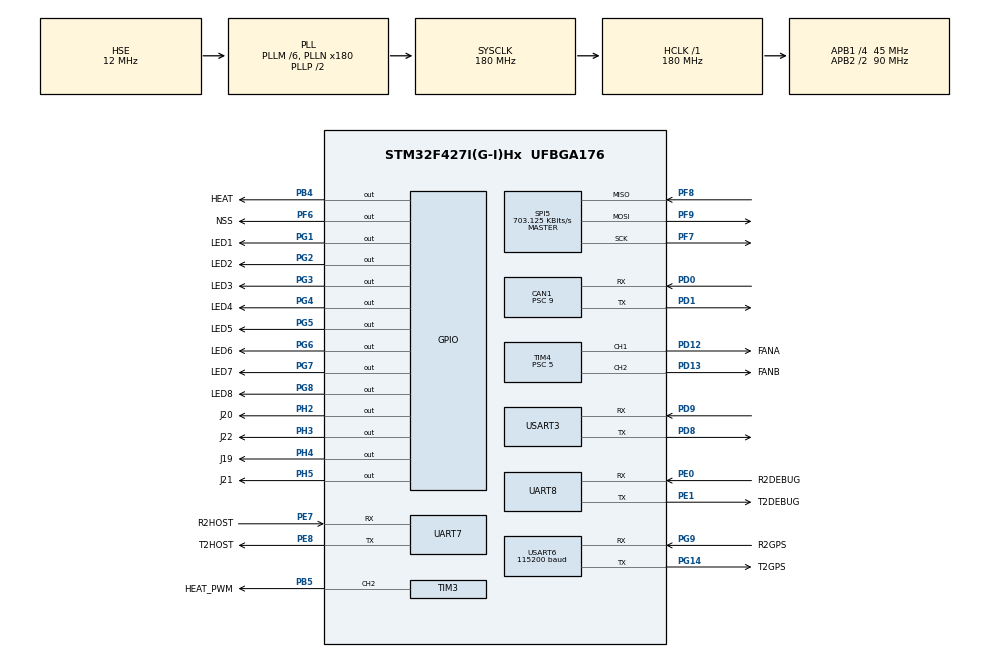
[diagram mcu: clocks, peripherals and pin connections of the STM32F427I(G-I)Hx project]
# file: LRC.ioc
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ADC1.Channel-0\#ChannelRegularConversion=ADC_CHANNEL_TEMPSENSOR
ADC1.Channel-1\#ChannelInjectedConversion=ADC_CHANNEL_TEMPSENSOR
ADC1.ContinuousConvMode=DISABLE
ADC1.ExternalTrigConv=ADC_SOFTWARE_START
ADC1.InjNumberOfConversion=1
ADC1.InjectedOffset-1\#ChannelInjectedConversion=0
ADC1.InjectedRank-1\#ChannelInjectedConversion=1
ADC1.NbrOfConversion=1
ADC1.NbrOfConversionFlag=1
ADC1.Rank-0\#ChannelRegularConversion=1
ADC1.SamplingTime-0\#ChannelRegularConversion=ADC_SAMPLETIME_3CYCLES
ADC1.SamplingTime-1\#ChannelInjectedConversion=ADC_SAMPLETIME_3CYCLES
ADC1.master=1
CAN1.ABOM=ENABLE
CAN1.BS1=CAN_BS1_3TQ
CAN1.CalculateBaudRate=1000000
CAN1.CalculateTimeBit=1000.00
CAN1.CalculateTimeQuantum=200.0
CAN1.Prescaler=9
FREERTOS.Tasks01=defaultTask,8,128,StartDefaultTask,Default,NULL,Dynamic,NULL,NULL;myGetGPS,32,128,StartGetGPS,Default,NULL,Dynamic,NULL,NULL;myMotorControl,24,128,StartMotorControl,Default,NULL,Dynamic,NULL,NULL;myGetIMU,32,128,StartGetIMU,Default,NULL,Dynamic,NULL,NULL;myCtrlIMUTemp,24,128,StartCtrlIMUTemp,Default,NULL,Dynamic,NULL,NULL;myChassisCtrl,24,128,StartChassisCtrl,Default,NULL,Dynamic,NULL,NULL;myBrushCtrl,24,128,StartBrushCtrl,Default,NULL,Dynamic,NULL,NULL;myLED,16,128,StartLED,Default,NULL,Dynamic,NULL,NULL;myMtHrtBt,16,128,StartMtHrtBt,Default,NULL,Dynamic,NULL,NULL;myFanCtrl,24,128,StartFanCtrl,Default,NULL,Dynamic,NULL,NULL
Mcu.Family=STM32F4
Mcu.Name=STM32F427I(G-I)Hx
Mcu.Package=UFBGA176
NVIC.CAN1_RX0_IRQn=true\:5\:0\:false\:false\:true\:true\:true\:true
NVIC.PriorityGroup=NVIC_PRIORITYGROUP_4
NVIC.TIM6_DAC_IRQn=true\:0\:0\:false\:false\:true\:false\:false\:true
NVIC.TimeBase=TIM6_DAC_IRQn
NVIC.TimeBaseIP=TIM6
NVIC.UART7_IRQn=true\:5\:0\:false\:false\:true\:true\:true\:true
NVIC.UART8_IRQn=true\:5\:0\:false\:false\:true\:true\:true\:true
NVIC.USART3_IRQn=true\:5\:0\:false\:false\:true\:true\:true\:true
NVIC.USART6_IRQn=true\:5\:0\:false\:false\:true\:true\:true\:true
PA13.Mode=Serial_Wire
PA13.Signal=SYS_JTMS-SWDIO
PA14.Mode=Serial_Wire
PA14.Signal=SYS_JTCK-SWCLK
PB4.GPIO_Label=HEAT
PB4.Signal=GPIO_Output
PB5.GPIO_Label=HEAT_PWM
PB5.Signal=S_TIM3_CH2
PD0.GPIO_PuPd=GPIO_NOPULL
PD0.Mode=CAN_Activate
PD0.Signal=CAN1_RX
PD1.GPIO_PuPd=GPIO_NOPULL
PD1.Mode=CAN_Activate
PD1.Signal=CAN1_TX
PD12.GPIO_Label=FANA
PD12.Signal=S_TIM4_CH1
PD13.GPIO_Label=FANB
PD13.Signal=S_TIM4_CH2
PD8.Mode=Asynchronous
PD8.Signal=USART3_TX
PD9.Mode=Asynchronous
PD9.Signal=USART3_RX
PE0.GPIO_Label=R2DEBUG
PE0.Mode=Asynchronous
PE0.Signal=UART8_RX
PE1.GPIO_Label=T2DEBUG
PE1.Mode=Asynchronous
PE1.Signal=UART8_TX
PE7.GPIO_Label=R2HOST
PE7.Mode=Asynchronous
PE7.Signal=UART7_RX
PE8.GPIO_Label=T2HOST
PE8.Mode=Asynchronous
PE8.Signal=UART7_TX
PF6.GPIO_Label=NSS
PF6.Signal=GPIO_Output
PF7.Mode=Full_Duplex_Master
PF7.Signal=SPI5_SCK
PF8.Mode=Full_Duplex_Master
PF8.Signal=SPI5_MISO
PF9.Mode=Full_Duplex_Master
PF9.Signal=SPI5_MOSI
PG1.GPIO_Label=LED1
PG1.Signal=GPIO_Output
PG14.GPIO_Label=T2GPS
PG14.Mode=Asynchronous
PG14.Signal=USART6_TX
PG2.GPIO_Label=LED2
PG2.Signal=GPIO_Output
PG3.GPIO_Label=LED3
PG3.Signal=GPIO_Output
PG4.GPIO_Label=LED4
PG4.Signal=GPIO_Output
PG5.GPIO_Label=LED5
PG5.Signal=GPIO_Output
PG6.GPIO_Label=LED6
PG6.Signal=GPIO_Output
PG7.GPIO_Label=LED7
PG7.Signal=GPIO_Output
PG8.GPIO_Label=LED8
PG8.Signal=GPIO_Output
PG9.GPIO_Label=R2GPS
PG9.Mode=Asynchronous
PG9.Signal=USART6_RX
PH0/OSC_IN.Mode=HSE-External-Oscillator
PH0/OSC_IN.Signal=RCC_OSC_IN
PH1/OSC_OUT.Mode=HSE-External-Oscillator
PH1/OSC_OUT.Signal=RCC_OSC_OUT
PH2.GPIO_Label=J20
PH2.GPIO_PuPd=GPIO_PULLUP
PH2.PinState=GPIO_PIN_SET
PH2.Signal=GPIO_Output
PH3.GPIO_Label=J22
PH3.GPIO_PuPd=GPIO_PULLUP
PH3.PinState=GPIO_PIN_SET
PH3.Signal=GPIO_Output
PH4.GPIO_Label=J19
PH4.GPIO_PuPd=GPIO_PULLUP
PH4.PinState=GPIO_PIN_SET
PH4.Signal=GPIO_Output
PH5.GPIO_Label=J21
PH5.GPIO_PuPd=GPIO_PULLUP
PH5.PinState=GPIO_PIN_SET
PH5.Signal=GPIO_Output
ProjectManager.HeapSize=0x200
ProjectManager.StackSize=0x400
ProjectManager.TargetToolchain=MDK-ARM V5
RCC.48MHZClocksFreq_Value=90000000
RCC.AHBFreq_Value=180000000
RCC.APB1CLKDivider=RCC_HCLK_DIV4
RCC.APB1Freq_Value=45000000
RCC.APB1TimFreq_Value=90000000
RCC.APB2CLKDivider=RCC_HCLK_DIV2
RCC.APB2Freq_Value=90000000
RCC.APB2TimFreq_Value=180000000
RCC.CortexFreq_Value=180000000
RCC.HCLKFreq_Value=180000000
RCC.HSE_VALUE=12000000
RCC.HSI_VALUE=16000000
RCC.LSE_VALUE=32768
RCC.PLLM=6
RCC.PLLN=180
RCC.PLLSourceVirtual=RCC_PLLSOURCE_HSE
RCC.SYSCLKFreq_VALUE=180000000
RCC.SYSCLKSource=RCC_SYSCLKSOURCE_PLLCLK
RCC.VCOOutputFreq_Value=360000000
SH.S_TIM3_CH2.0=TIM3_CH2,PWM Generation2 CH2
SH.S_TIM4_CH1.0=TIM4_CH1,PWM Generation1 CH1
SH.S_TIM4_CH2.0=TIM4_CH2,PWM Generation2 CH2
SPI5.BaudRatePrescaler=SPI_BAUDRATEPRESCALER_128
SPI5.CalculateBaudRate=703.125 KBits/s
SPI5.Direction=SPI_DIRECTION_2LINES
SPI5.Mode=SPI_MODE_MASTER
SPI5.VirtualType=VM_MASTER
TIM3.AutoReloadPreload=TIM_AUTORELOAD_PRELOAD_ENABLE
TIM3.Channel-PWM\ Generation2\ CH2=TIM_CHANNEL_2
TIM3.Period=4999
TIM3.Prescaler=89
TIM4.AutoReloadPreload=TIM_AUTORELOAD_PRELOAD_ENABLE
TIM4.Channel-PWM\ Generation1\ CH1=TIM_CHANNEL_1
TIM4.Channel-PWM\ Generation2\ CH2=TIM_CHANNEL_2
TIM4.Period=1000
TIM4.Prescaler=5
UART7.VirtualMode=Asynchronous
UART8.VirtualMode=Asynchronous
USART3.VirtualMode=VM_ASYNC
USART6.BaudRate=115200
USART6.VirtualMode=VM_ASYNC
VP_ADC1_TempSens_Input.Mode=IN-TempSens
VP_FREERTOS_VS_CMSIS_V2.Mode=CMSIS_V2
VP_SYS_VS_tim6.Mode=TIM6
board=custom

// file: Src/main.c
/* USER CODE BEGIN Header */
/**
  ******************************************************************************
  * @file           : main.c
  * @brief          : Main program body
  ******************************************************************************
  * @attention
  *
  * <h2><center>&copy; Copyright (c) 2021 STMicroelectronics.
  * All rights reserved.</center></h2>
  *
  * This software component is licensed by ST under Ultimate Liberty license
  * SLA0044, the "License"; You may not use this file except in compliance with
  * the License. You may obtain a copy of the License at:
  *                             www.st.com/SLA0044
  *
  ******************************************************************************
  */
/* USER CODE END Header */
#include "main.h"
#include "cmsis_os.h"

/* USER CODE BEGIN Includes */
#include "bsp.h"
#include "bsp_can.h"
#include "bsp_imu.h"
#include "pid.h"
#include "gps.h"
#include "usart.h"
#include "protocol.h"
#include "math.h"
/* USER CODE END Includes */

ADC_HandleTypeDef hadc1;

CAN_HandleTypeDef hcan1;

SPI_HandleTypeDef hspi5;

TIM_HandleTypeDef htim3;
TIM_HandleTypeDef htim4;

UART_HandleTypeDef huart7;
UART_HandleTypeDef huart8;
UART_HandleTypeDef huart3;
UART_HandleTypeDef huart6;

/* Definitions for defaultTask */
osThreadId_t defaultTaskHandle;
const osThreadAttr_t defaultTask_attributes = {
  .name = "defaultTask",
  .priority = (osPriority_t) osPriorityLow,
  .stack_size = 128 * 4
};
/* Definitions for myGetGPS */
osThreadId_t myGetGPSHandle;
const osThreadAttr_t myGetGPS_attributes = {
  .name = "myGetGPS",
  .priority = (osPriority_t) osPriorityAboveNormal,
  .stack_size = 128 * 4
};
/* Definitions for myMotorControl */
osThreadId_t myMotorControlHandle;
const osThreadAttr_t myMotorControl_attributes = {
  .name = "myMotorControl",
  .priority = (osPriority_t) osPriorityNormal,
  .stack_size = 128 * 4
};
/* Definitions for myGetIMU */
osThreadId_t myGetIMUHandle;
const osThreadAttr_t myGetIMU_attributes = {
  .name = "myGetIMU",
  .priority = (osPriority_t) osPriorityAboveNormal,
  .stack_size = 128 * 4
};
/* Definitions for myCtrlIMUTemp */
osThreadId_t myCtrlIMUTempHandle;
const osThreadAttr_t myCtrlIMUTemp_attributes = {
  .name = "myCtrlIMUTemp",
  .priority = (osPriority_t) osPriorityNormal,
  .stack_size = 128 * 4
};
/* Definitions for myChassisCtrl */
osThreadId_t myChassisCtrlHandle;
const osThreadAttr_t myChassisCtrl_attributes = {
  .name = "myChassisCtrl",
  .priority = (osPriority_t) osPriorityNormal,
  .stack_size = 128 * 4
};
/* Definitions for myBrushCtrl */
osThreadId_t myBrushCtrlHandle;
const osThreadAttr_t myBrushCtrl_attributes = {
  .name = "myBrushCtrl",
  .priority = (osPriority_t) osPriorityNormal,
  .stack_size = 128 * 4
};
/* Definitions for myLED */
osThreadId_t myLEDHandle;
const osThreadAttr_t myLED_attributes = {
  .name = "myLED",
  .priority = (osPriority_t) osPriorityBelowNormal,
  .stack_size = 128 * 4
};
/* Definitions for myMtHrtBt */
osThreadId_t myMtHrtBtHandle;
const osThreadAttr_t myMtHrtBt_attributes = {
  .name = "myMtHrtBt",
  .priority = (osPriority_t) osPriorityBelowNormal,
  .stack_size = 128 * 4
};
/* Definitions for myFanCtrl */
osThreadId_t myFanCtrlHandle;
const osThreadAttr_t myFanCtrl_attributes = {
  .name = "myFanCtrl",
  .priority = (osPriority_t) osPriorityNormal,
  .stack_size = 128 * 4
};
/* USER CODE BEGIN PV */
extern My_CAN_HandleTypeDef *my_hcan1;

/* USER CODE END PV */

void SystemClock_Config(void);
static void MX_GPIO_Init(void);
static void MX_CAN1_Init(void);
static void MX_USART6_UART_Init(void);
static void MX_UART8_Init(void);
static void MX_SPI5_Init(void);
static void MX_ADC1_Init(void);
static void MX_TIM3_Init(void);
static void MX_TIM4_Init(void);
static void MX_USART3_UART_Init(void);
static void MX_UART7_Init(void);
void StartDefaultTask(void *argument);
void StartGetGPS(void *argument);
void StartMotorControl(void *argument);
void StartGetIMU(void *argument);
void StartCtrlIMUTemp(void *argument);
void StartChassisCtrl(void *argument);
void StartBrushCtrl(void *argument);
void StartLED(void *argument);
void StartMtHrtBt(void *argument);
void StartFanCtrl(void *argument);

int main(void)
{

  /* MCU Configuration--------------------------------------------------------*/

  /* Reset of all peripherals, Initializes the Flash interface and the Systick. */
  HAL_Init();

  /* Configure the system clock */
  SystemClock_Config();

  /* Initialize all configured peripherals */
  MX_GPIO_Init();
  MX_CAN1_Init();
  MX_USART6_UART_Init();
  MX_UART8_Init();
  MX_SPI5_Init();
  MX_ADC1_Init();
  MX_TIM3_Init();
  MX_TIM4_Init();
  MX_USART3_UART_Init();
  MX_UART7_Init();
  /* USER CODE BEGIN 2 */
  bsp_init();

  /* USER CODE END 2 */

  /* Init scheduler */
  osKernelInitialize();

  /* Create the thread(s) */
  /* creation of defaultTask */
  defaultTaskHandle = osThreadNew(StartDefaultTask, NULL, &defaultTask_attributes);

  /* creation of myGetGPS */
  myGetGPSHandle = osThreadNew(StartGetGPS, NULL, &myGetGPS_attributes);

  /* creation of myMotorControl */
  myMotorControlHandle = osThreadNew(StartMotorControl, NULL, &myMotorControl_attributes);

  /* creation of myGetIMU */
  myGetIMUHandle = osThreadNew(StartGetIMU, NULL, &myGetIMU_attributes);

  /* creation of myCtrlIMUTemp */
  myCtrlIMUTempHandle = osThreadNew(StartCtrlIMUTemp, NULL, &myCtrlIMUTemp_attributes);

  /* creation of myChassisCtrl */
  myChassisCtrlHandle = osThreadNew(StartChassisCtrl, NULL, &myChassisCtrl_attributes);

  /* creation of myBrushCtrl */
  myBrushCtrlHandle = osThreadNew(StartBrushCtrl, NULL, &myBrushCtrl_attributes);

  /* creation of myLED */
  myLEDHandle = osThreadNew(StartLED, NULL, &myLED_attributes);

  /* creation of myMtHrtBt */
  myMtHrtBtHandle = osThreadNew(StartMtHrtBt, NULL, &myMtHrtBt_attributes);

  /* creation of myFanCtrl */
  myFanCtrlHandle = osThreadNew(StartFanCtrl, NULL, &myFanCtrl_attributes);

  /* Start scheduler */
  osKernelStart();

  /* We should never get here as control is now taken by the scheduler */
  /* Infinite loop */
  while (1)
  {

  }
}

void SystemClock_Config(void)
{
  RCC_OscInitTypeDef RCC_OscInitStruct = {0};
  RCC_ClkInitTypeDef RCC_ClkInitStruct = {0};

  /** Configure the main internal regulator output voltage
  */
  __HAL_RCC_PWR_CLK_ENABLE();
  __HAL_PWR_VOLTAGESCALING_CONFIG(PWR_REGULATOR_VOLTAGE_SCALE1);
  /** Initializes the RCC Oscillators according to the specified parameters
  * in the RCC_OscInitTypeDef structure.
  */
  RCC_OscInitStruct.OscillatorType = RCC_OSCILLATORTYPE_HSE;
  RCC_OscInitStruct.HSEState = RCC_HSE_ON;
  RCC_OscInitStruct.PLL.PLLState = RCC_PLL_ON;
  RCC_OscInitStruct.PLL.PLLSource = RCC_PLLSOURCE_HSE;
  RCC_OscInitStruct.PLL.PLLM = 6;
  RCC_OscInitStruct.PLL.PLLN = 180;
  RCC_OscInitStruct.PLL.PLLP = RCC_PLLP_DIV2;
  RCC_OscInitStruct.PLL.PLLQ = 4;
  if (HAL_RCC_OscConfig(&RCC_OscInitStruct) != HAL_OK)
  {
    Error_Handler();
  }
  /** Activate the Over-Drive mode
  */
  if (HAL_PWREx_EnableOverDrive() != HAL_OK)
  {
    Error_Handler();
  }
  /** Initializes the CPU, AHB and APB buses clocks
  */
  RCC_ClkInitStruct.ClockType = RCC_CLOCKTYPE_HCLK|RCC_CLOCKTYPE_SYSCLK
                              |RCC_CLOCKTYPE_PCLK1|RCC_CLOCKTYPE_PCLK2;
  RCC_ClkInitStruct.SYSCLKSource = RCC_SYSCLKSOURCE_PLLCLK;
  RCC_ClkInitStruct.AHBCLKDivider = RCC_SYSCLK_DIV1;
  RCC_ClkInitStruct.APB1CLKDivider = RCC_HCLK_DIV4;
  RCC_ClkInitStruct.APB2CLKDivider = RCC_HCLK_DIV2;

  if (HAL_RCC_ClockConfig(&RCC_ClkInitStruct, FLASH_LATENCY_5) != HAL_OK)
  {
    Error_Handler();
  }
}

static void MX_ADC1_Init(void)
{

  ADC_ChannelConfTypeDef sConfig = {0};
  ADC_InjectionConfTypeDef sConfigInjected = {0};

  /** Configure the global features of the ADC (Clock, Resolution, Data Alignment and number of conversion)
  */
  hadc1.Instance = ADC1;
  hadc1.Init.ClockPrescaler = ADC_CLOCK_SYNC_PCLK_DIV4;
  hadc1.Init.Resolution = ADC_RESOLUTION_12B;
  hadc1.Init.ScanConvMode = DISABLE;
  hadc1.Init.ContinuousConvMode = DISABLE;
  hadc1.Init.DiscontinuousConvMode = DISABLE;
  hadc1.Init.ExternalTrigConvEdge = ADC_EXTERNALTRIGCONVEDGE_NONE;
  hadc1.Init.ExternalTrigConv = ADC_SOFTWARE_START;
  hadc1.Init.DataAlign = ADC_DATAALIGN_RIGHT;
  hadc1.Init.NbrOfConversion = 1;
  hadc1.Init.DMAContinuousRequests = DISABLE;
  hadc1.Init.EOCSelection = ADC_EOC_SINGLE_CONV;
  if (HAL_ADC_Init(&hadc1) != HAL_OK)
  {
    Error_Handler();
  }
  /** Configure for the selected ADC regular channel its corresponding rank in the sequencer and its sample time.
  */
  sConfig.Channel = ADC_CHANNEL_TEMPSENSOR;
  sConfig.Rank = 1;
  sConfig.SamplingTime = ADC_SAMPLETIME_3CYCLES;
  if (HAL_ADC_ConfigChannel(&hadc1, &sConfig) != HAL_OK)
  {
    Error_Handler();
  }
  /** Configures for the selected ADC injected channel its corresponding rank in the sequencer and its sample time
  */
  sConfigInjected.InjectedChannel = ADC_CHANNEL_TEMPSENSOR;
  sConfigInjected.InjectedRank = 1;
  sConfigInjected.InjectedNbrOfConversion = 1;
  sConfigInjected.InjectedSamplingTime = ADC_SAMPLETIME_3CYCLES;
  sConfigInjected.ExternalTrigInjecConvEdge = ADC_EXTERNALTRIGINJECCONVEDGE_NONE;
  sConfigInjected.ExternalTrigInjecConv = ADC_INJECTED_SOFTWARE_START;
  sConfigInjected.AutoInjectedConv = DISABLE;
  sConfigInjected.InjectedDiscontinuousConvMode = DISABLE;
  sConfigInjected.InjectedOffset = 0;
  if (HAL_ADCEx_InjectedConfigChannel(&hadc1, &sConfigInjected) != HAL_OK)
  {
    Error_Handler();
  }

}

static void MX_CAN1_Init(void)
{

  hcan1.Instance = CAN1;
  hcan1.Init.Prescaler = 9;
  hcan1.Init.Mode = CAN_MODE_NORMAL;
  hcan1.Init.SyncJumpWidth = CAN_SJW_1TQ;
  hcan1.Init.TimeSeg1 = CAN_BS1_3TQ;
  hcan1.Init.TimeSeg2 = CAN_BS2_1TQ;
  hcan1.Init.TimeTriggeredMode = DISABLE;
  hcan1.Init.AutoBusOff = ENABLE;
  hcan1.Init.AutoWakeUp = DISABLE;
  hcan1.Init.AutoRetransmission = DISABLE;
  hcan1.Init.ReceiveFifoLocked = DISABLE;
  hcan1.Init.TransmitFifoPriority = DISABLE;
  if (HAL_CAN_Init(&hcan1) != HAL_OK)
  {
    Error_Handler();
  }

}

static void MX_SPI5_Init(void)
{

  /* SPI5 parameter configuration*/
  hspi5.Instance = SPI5;
  hspi5.Init.Mode = SPI_MODE_MASTER;
  hspi5.Init.Direction = SPI_DIRECTION_2LINES;
  hspi5.Init.DataSize = SPI_DATASIZE_8BIT;
  hspi5.Init.CLKPolarity = SPI_POLARITY_LOW;
  hspi5.Init.CLKPhase = SPI_PHASE_1EDGE;
  hspi5.Init.NSS = SPI_NSS_SOFT;
  hspi5.Init.BaudRatePrescaler = SPI_BAUDRATEPRESCALER_128;
  hspi5.Init.FirstBit = SPI_FIRSTBIT_MSB;
  hspi5.Init.TIMode = SPI_TIMODE_DISABLE;
  hspi5.Init.CRCCalculation = SPI_CRCCALCULATION_DISABLE;
  hspi5.Init.CRCPolynomial = 10;
  if (HAL_SPI_Init(&hspi5) != HAL_OK)
  {
    Error_Handler();
  }

}

static void MX_TIM3_Init(void)
{

  TIM_MasterConfigTypeDef sMasterConfig = {0};
  TIM_OC_InitTypeDef sConfigOC = {0};

  htim3.Instance = TIM3;
  htim3.Init.Prescaler = 89;
  htim3.Init.CounterMode = TIM_COUNTERMODE_UP;
  htim3.Init.Period = 4999;
  htim3.Init.ClockDivision = TIM_CLOCKDIVISION_DIV1;
  htim3.Init.AutoReloadPreload = TIM_AUTORELOAD_PRELOAD_ENABLE;
  if (HAL_TIM_PWM_Init(&htim3) != HAL_OK)
  {
    Error_Handler();
  }
  sMasterConfig.MasterOutputTrigger = TIM_TRGO_RESET;
  sMasterConfig.MasterSlaveMode = TIM_MASTERSLAVEMODE_DISABLE;
  if (HAL_TIMEx_MasterConfigSynchronization(&htim3, &sMasterConfig) != HAL_OK)
  {
    Error_Handler();
  }
  sConfigOC.OCMode = TIM_OCMODE_PWM1;
  sConfigOC.Pulse = 0;
  sConfigOC.OCPolarity = TIM_OCPOLARITY_HIGH;
  sConfigOC.OCFastMode = TIM_OCFAST_DISABLE;
  if (HAL_TIM_PWM_ConfigChannel(&htim3, &sConfigOC, TIM_CHANNEL_2) != HAL_OK)
  {
    Error_Handler();
  }
  HAL_TIM_MspPostInit(&htim3);

}

static void MX_TIM4_Init(void)
{

  TIM_MasterConfigTypeDef sMasterConfig = {0};
  TIM_OC_InitTypeDef sConfigOC = {0};

  htim4.Instance = TIM4;
  htim4.Init.Prescaler = 5;
  htim4.Init.CounterMode = TIM_COUNTERMODE_UP;
  htim4.Init.Period = 1000;
  htim4.Init.ClockDivision = TIM_CLOCKDIVISION_DIV1;
  htim4.Init.AutoReloadPreload = TIM_AUTORELOAD_PRELOAD_ENABLE;
  if (HAL_TIM_PWM_Init(&htim4) != HAL_OK)
  {
    Error_Handler();
  }
  sMasterConfig.MasterOutputTrigger = TIM_TRGO_RESET;
  sMasterConfig.MasterSlaveMode = TIM_MASTERSLAVEMODE_DISABLE;
  if (HAL_TIMEx_MasterConfigSynchronization(&htim4, &sMasterConfig) != HAL_OK)
  {
    Error_Handler();
  }
  sConfigOC.OCMode = TIM_OCMODE_PWM1;
  sConfigOC.Pulse = 0;
  sConfigOC.OCPolarity = TIM_OCPOLARITY_HIGH;
  sConfigOC.OCFastMode = TIM_OCFAST_DISABLE;
  if (HAL_TIM_PWM_ConfigChannel(&htim4, &sConfigOC, TIM_CHANNEL_1) != HAL_OK)
  {
    Error_Handler();
  }
  if (HAL_TIM_PWM_ConfigChannel(&htim4, &sConfigOC, TIM_CHANNEL_2) != HAL_OK)
  {
    Error_Handler();
  }
  HAL_TIM_MspPostInit(&htim4);

}

static void MX_UART7_Init(void)
{

  huart7.Instance = UART7;
  huart7.Init.BaudRate = 115200;
  huart7.Init.WordLength = UART_WORDLENGTH_8B;
  huart7.Init.StopBits = UART_STOPBITS_1;
  huart7.Init.Parity = UART_PARITY_NONE;
  huart7.Init.Mode = UART_MODE_TX_RX;
  huart7.Init.HwFlowCtl = UART_HWCONTROL_NONE;
  huart7.Init.OverSampling = UART_OVERSAMPLING_16;
  if (HAL_UART_Init(&huart7) != HAL_OK)
  {
    Error_Handler();
  }

}

static void MX_UART8_Init(void)
{

  huart8.Instance = UART8;
  huart8.Init.BaudRate = 115200;
  huart8.Init.WordLength = UART_WORDLENGTH_8B;
  huart8.Init.StopBits = UART_STOPBITS_1;
  huart8.Init.Parity = UART_PARITY_NONE;
  huart8.Init.Mode = UART_MODE_TX_RX;
  huart8.Init.HwFlowCtl = UART_HWCONTROL_NONE;
  huart8.Init.OverSampling = UART_OVERSAMPLING_16;
  if (HAL_UART_Init(&huart8) != HAL_OK)
  {
    Error_Handler();
  }

}

static void MX_USART3_UART_Init(void)
{

  huart3.Instance = USART3;
  huart3.Init.BaudRate = 115200;
  huart3.Init.WordLength = UART_WORDLENGTH_8B;
  huart3.Init.StopBits = UART_STOPBITS_1;
  huart3.Init.Parity = UART_PARITY_NONE;
  huart3.Init.Mode = UART_MODE_TX_RX;
  huart3.Init.HwFlowCtl = UART_HWCONTROL_NONE;
  huart3.Init.OverSampling = UART_OVERSAMPLING_16;
  if (HAL_UART_Init(&huart3) != HAL_OK)
  {
    Error_Handler();
  }

}

static void MX_USART6_UART_Init(void)
{

  huart6.Instance = USART6;
  huart6.Init.BaudRate = 115200;
  huart6.Init.WordLength = UART_WORDLENGTH_8B;
  huart6.Init.StopBits = UART_STOPBITS_1;
  huart6.Init.Parity = UART_PARITY_NONE;
  huart6.Init.Mode = UART_MODE_TX_RX;
  huart6.Init.HwFlowCtl = UART_HWCONTROL_NONE;
  huart6.Init.OverSampling = UART_OVERSAMPLING_16;
  if (HAL_UART_Init(&huart6) != HAL_OK)
  {
    Error_Handler();
  }

}

static void MX_GPIO_Init(void)
{
  GPIO_InitTypeDef GPIO_InitStruct = {0};

  /* GPIO Ports Clock Enable */
  __HAL_RCC_GPIOE_CLK_ENABLE();
  __HAL_RCC_GPIOB_CLK_ENABLE();
  __HAL_RCC_GPIOG_CLK_ENABLE();
  __HAL_RCC_GPIOA_CLK_ENABLE();
  __HAL_RCC_GPIOD_CLK_ENABLE();
  __HAL_RCC_GPIOH_CLK_ENABLE();
  __HAL_RCC_GPIOF_CLK_ENABLE();

  /*Configure GPIO pin Output Level */
  HAL_GPIO_WritePin(HEAT_GPIO_Port, HEAT_Pin, GPIO_PIN_RESET);

  /*Configure GPIO pin Output Level */
  HAL_GPIO_WritePin(GPIOH, J20_Pin|J22_Pin|J19_Pin|J21_Pin, GPIO_PIN_SET);

  /*Configure GPIO pin Output Level */
  HAL_GPIO_WritePin(GPIOG, LED8_Pin|LED7_Pin|LED6_Pin|LED5_Pin
                          |LED4_Pin|LED3_Pin|LED2_Pin|LED1_Pin, GPIO_PIN_RESET);

  /*Configure GPIO pin Output Level */
  HAL_GPIO_WritePin(NSS_GPIO_Port, NSS_Pin, GPIO_PIN_RESET);

  /*Configure GPIO pin : HEAT_Pin */
  GPIO_InitStruct.Pin = HEAT_Pin;
  GPIO_InitStruct.Mode = GPIO_MODE_OUTPUT_PP;
  GPIO_InitStruct.Pull = GPIO_NOPULL;
  GPIO_InitStruct.Speed = GPIO_SPEED_FREQ_LOW;
  HAL_GPIO_Init(HEAT_GPIO_Port, &GPIO_InitStruct);

  /*Configure GPIO pins : J20_Pin J22_Pin J19_Pin J21_Pin */
  GPIO_InitStruct.Pin = J20_Pin|J22_Pin|J19_Pin|J21_Pin;
  GPIO_InitStruct.Mode = GPIO_MODE_OUTPUT_PP;
  GPIO_InitStruct.Pull = GPIO_PULLUP;
  GPIO_InitStruct.Speed = GPIO_SPEED_FREQ_LOW;
  HAL_GPIO_Init(GPIOH, &GPIO_InitStruct);

  /*Configure GPIO pins : LED8_Pin LED7_Pin LED6_Pin LED5_Pin
                           LED4_Pin LED3_Pin LED2_Pin LED1_Pin */
  GPIO_InitStruct.Pin = LED8_Pin|LED7_Pin|LED6_Pin|LED5_Pin
                          |LED4_Pin|LED3_Pin|LED2_Pin|LED1_Pin;
  GPIO_InitStruct.Mode = GPIO_MODE_OUTPUT_PP;
  GPIO_InitStruct.Pull = GPIO_NOPULL;
  GPIO_InitStruct.Speed = GPIO_SPEED_FREQ_LOW;
  HAL_GPIO_Init(GPIOG, &GPIO_InitStruct);

  /*Configure GPIO pin : NSS_Pin */
  GPIO_InitStruct.Pin = NSS_Pin;
  GPIO_InitStruct.Mode = GPIO_MODE_OUTPUT_PP;
  GPIO_InitStruct.Pull = GPIO_NOPULL;
  GPIO_InitStruct.Speed = GPIO_SPEED_FREQ_LOW;
  HAL_GPIO_Init(NSS_GPIO_Port, &GPIO_InitStruct);

}

void StartDefaultTask(void *argument)
{
  /* USER CODE BEGIN 5 */

  /* Infinite loop */
  for(;;)
  {
    osDelay(10);
  }
  /* USER CODE END 5 */
}

void StartGetGPS(void *argument)
{
  /* USER CODE BEGIN StartGetGPS */
  /* Infinite loop */
  for(;;)
  {
	parseGpsBuffer();
	//printGpsBuffer();
    osDelay(100);
  }
  /* USER CODE END StartGetGPS */
}

/* USER CODE BEGIN Header_StartMotorControl */
/**
* @brief Function implementing the myMotorControl thread.
* @param argument: Not used
* @retval None
*/
#define Pi 3.1415926f
#define L (43.6f + 36.5f) //	Length/2 + Width/2
#define R 6.0f	// 轮子半径 cm
#define RATIO 19	// 3508_ratio = 19
#define WHEEL_KP 2.0f
#define WHEEL_KI 0.075f
#define WHEEL_KD 0.0f
#define WHEEL_DV 45.6f
float vx = 0.0f, vy = 0.0f, omega = 0.0f; // cm/s rad/s
moto_measure_t moto_chassis[4] = {0};// 4 chassis moto
float set_wheel_spd[4] = {0, 0, 0, 0};	//LF RF RB LB
float rt_wheel_spd[4] = {0, 0, 0,0};
/* USER CODE END Header_StartMotorControl */
void StartMotorControl(void *argument)
{
  /* USER CODE BEGIN StartMotorControl */
  for(int i=0; i<4; i++)
  {
	PID_struct_init(&pid_wheel_spd[i], POSITION_PID, 16000, 16000,
								WHEEL_KP,	WHEEL_KI,	WHEEL_KD	);  //4 motos angular rate closeloop.
  }
  /* Infinite loop */
  for(;;)
  {
	//主机掉线在chassis_ctrl任务中处理
	set_wheel_spd[0] = ((+vx	+vy	+omega*L)/R * (30/Pi)) * RATIO;
	set_wheel_spd[1] = ((-vx	+vy	+omega*L)/R * (30/Pi)) * RATIO;
	set_wheel_spd[2] = ((-vx	-vy	+omega*L)/R * (30/Pi)) * RATIO;
	set_wheel_spd[3] = ((+vx	-vy	+omega*L)/R * (30/Pi)) * RATIO;
	for(int i=0; i<4; i++)
	{
		//在电机确认上线后，才能PID调速
		if(moto_chassis[i].state == 1)
		{
			if(fabs(set_wheel_spd[i]-rt_wheel_spd[i])>WHEEL_DV)
			{
				rt_wheel_spd[i] += WHEEL_DV * (set_wheel_spd[i]>rt_wheel_spd[i] ? 1.0f:-1.0f);
			}
			else
			{
				rt_wheel_spd[i] = set_wheel_spd[i];
			}
			pid_calc(&pid_wheel_spd[i], moto_chassis[i].speed_rpm, rt_wheel_spd[i]);
		}
		else
		{
			pid_output_reset(&pid_wheel_spd[i]);
		}
	}
	set_moto_1to4_current(my_hcan1->hcan,
						  pid_wheel_spd[0].pos_out,
						  pid_wheel_spd[1].pos_out,
						  pid_wheel_spd[2].pos_out,
						  pid_wheel_spd[3].pos_out);
	osDelay(10);
  }
  /* USER CODE END StartMotorControl */
}

/* USER CODE BEGIN Header_StartGetIMU */
/**
* @brief Function implementing the myGetIMU thread.
* @param argument: Not used
* @retval None
*/
extern float set_imu_temp;
extern imu_t imu;
/* USER CODE END Header_StartGetIMU */
void StartGetIMU(void *argument)
{
  /* USER CODE BEGIN StartGetIMU */
  /* Infinite loop */
  for(;;)
  {
	mpu_get_data();
	imu_ahrs_update();
	imu_attitude_update();
//	printf("%f,%f,%f\n",imu.pit, imu.yaw, imu.rol);
    osDelay(1);
  }
  /* USER CODE END StartGetIMU */
}

/* USER CODE BEGIN Header_StartCtrlIMUTemp */
/**
* @brief Function implementing the myCtrlIMUTemp thread.
* @param argument: Not used
* @retval None
*/
extern pid_t pid_imu_tmp;
float set_imu_temp = 50.0f;
int imu_temp_ctrl = 1;
/* USER CODE END Header_StartCtrlIMUTemp */
void StartCtrlIMUTemp(void *argument)
{
  /* USER CODE BEGIN StartCtrlIMUTemp */
  PID_struct_init(&pid_imu_tmp, POSITION_PID, 4500, 4500,
								300.0f,	10.0f, 0.0f	);  //4 motos angular rate closeloop.
  /* Infinite loop */
  for(;;)
  {
	if(imu_temp_ctrl)
	{
		if(imu.temp < set_imu_temp)
		{
			pid_calc(&pid_imu_tmp, imu.temp, set_imu_temp);
			__HAL_TIM_SetCompare(&htim3, TIM_CHANNEL_2, pid_imu_tmp.pos_out);
		}
		else
		{
			pid_output_reset(&pid_imu_tmp);
			__HAL_TIM_SetCompare(&htim3, TIM_CHANNEL_2, 0);
		}
		//printf("%f\n",imu.temp);
	}
	osDelay(1);
  }
  /* USER CODE END StartCtrlIMUTemp */
}

/* USER CODE BEGIN Header_StartChassisCtrl */
/**
* @brief Function implementing the myChassisCtrl thread.
* @param argument: Not used
* @retval None
*/
extern Chassis_Motion chassis_motion;
extern float brush_spd_from_host;
extern uint8_t host_state;
uint8_t debug_state = 0;
extern float set_brush_spd[2];
extern float fan_spd_from_host;
extern uint32_t fan_spd;
/* USER CODE END Header_StartChassisCtrl */
void StartChassisCtrl(void *argument)
{
  /* USER CODE BEGIN StartChassisCtrl */
  /* Infinite loop */
  for(;;)
  {
	if(host_state == 1)	//主机上线
	{
		vx = chassis_motion.vx;
		vy = chassis_motion.vy;
		omega = chassis_motion.omega;
		set_brush_spd[0] = brush_spd_from_host*RATIO;
		set_brush_spd[1] = -brush_spd_from_host*RATIO;
		if(fan_spd_from_host < 0.0f)
		{
			fan_spd = 0;
		}
		else if(fan_spd_from_host < 999.0f)
		{
			fan_spd = (uint32_t)fan_spd_from_host;
		}
		else
		{
			fan_spd = 999;
		}
//		fan_spd = (uint32_t)fan_spd_from_host;
	}
	else if(debug_state == 1)
	{
		vx = 0.0f;
		vy = 0.0f;
		omega = 0.0f;
		set_brush_spd[0] = RATIO*120.0f;
		set_brush_spd[1] = -RATIO*120.0f;
		fan_spd = 799;
	}
	else
	{
		vx = 0.0f;
		vy = 0.0f;
		omega = 0.0f;
		set_brush_spd[0] = 0.0f;
		set_brush_spd[1] = 0.0f;
		fan_spd = 0;
	}
	osDelay(10);
  }
  /* USER CODE END StartChassisCtrl */
}

/* USER CODE BEGIN Header_StartBrushCtrl */
/**
* @brief Function implementing the myBrushCtrl thread.
* @param argument: Not used
* @retval None
*/
#define BRUSH_DV 45.6f
#define BRUSH_DDV 9.12f
moto_measure_t moto_brush[2] = {0};
float set_brush_spd[2] = {19*2*60.0, -19*2*60.0};
float rt_brush_spd[2] = {0, 0};

/* USER CODE END Header_StartBrushCtrl */
void StartBrushCtrl(void *argument)
{
  /* USER CODE BEGIN StartBrushCtrl */
	PID_struct_init(&pid_brush_spd[0], POSITION_PID, 16000, 16000,
								2.0f,	0.075f,	0.0f	);
	pid_brush_spd[0].integral_seperation = 1;
	pid_brush_spd[0].integral_threshold = 500;
	PID_struct_init(&pid_brush_spd[1], POSITION_PID, 16000, 16000,
								3.5f,	0.32f,	0.0f	);
	pid_brush_spd[1].integral_seperation = 1;
	pid_brush_spd[1].integral_threshold = 500;
  /* Infinite loop */
  for(;;)
  {
	for(int i=0; i<2; i++)
	{
		if(moto_brush[i].state == 1)
		{
			if(fabs(set_brush_spd[i]-rt_brush_spd[i])>BRUSH_DV)
			{
				rt_brush_spd[i] += BRUSH_DV * (set_brush_spd[i]>rt_brush_spd[i] ? 1.0f:-1.0f);
			}
			else
			{
				rt_brush_spd[i] = set_brush_spd[i];
			}
			pid_calc(&pid_brush_spd[i], moto_brush[i].speed_rpm_filtered, rt_brush_spd[i]);
		}
		else	//电机掉线
		{
			pid_output_reset(&pid_brush_spd[i]);
		}
	}
	printf("%d,%f\n", moto_brush[0].speed_rpm_filtered, rt_brush_spd[0]);
	set_moto_5to8_current(my_hcan1->hcan,
						  pid_brush_spd[0].pos_out,
						  pid_brush_spd[1].pos_out,
						  0,
						  0);
	osDelay(10);
  }
  /* USER CODE END StartBrushCtrl */
}

void StartLED(void *argument)
{
  /* USER CODE BEGIN StartLED */
  /* Infinite loop */
  for(;;)
  {
	  if(debug_state == 1)
	  {
		  HAL_GPIO_WritePin(LED1_GPIO_Port,LED1_Pin, GPIO_PIN_SET);
		  HAL_GPIO_WritePin(LED2_GPIO_Port,LED2_Pin, GPIO_PIN_SET);
		  HAL_GPIO_WritePin(LED3_GPIO_Port,LED3_Pin, GPIO_PIN_SET);
		  HAL_GPIO_WritePin(LED4_GPIO_Port,LED4_Pin, GPIO_PIN_SET);
		  HAL_GPIO_WritePin(LED5_GPIO_Port,LED5_Pin, GPIO_PIN_RESET);
		  HAL_GPIO_WritePin(LED6_GPIO_Port,LED6_Pin, GPIO_PIN_RESET);
		  HAL_GPIO_WritePin(LED7_GPIO_Port,LED7_Pin, GPIO_PIN_RESET);
		  HAL_GPIO_WritePin(LED8_GPIO_Port,LED8_Pin, GPIO_PIN_RESET);
	  }
	  else
	  {
		  HAL_GPIO_WritePin(LED1_GPIO_Port,LED1_Pin, GPIO_PIN_RESET);
		  HAL_GPIO_WritePin(LED2_GPIO_Port,LED2_Pin, GPIO_PIN_SET);
		  HAL_GPIO_WritePin(LED3_GPIO_Port,LED3_Pin, GPIO_PIN_RESET);
		  HAL_GPIO_WritePin(LED4_GPIO_Port,LED4_Pin, GPIO_PIN_SET);
		  HAL_GPIO_WritePin(LED5_GPIO_Port,LED5_Pin, GPIO_PIN_RESET);
		  HAL_GPIO_WritePin(LED6_GPIO_Port,LED6_Pin, GPIO_PIN_SET);
		  HAL_GPIO_WritePin(LED7_GPIO_Port,LED7_Pin, GPIO_PIN_RESET);
		  HAL_GPIO_WritePin(LED8_GPIO_Port,LED8_Pin, GPIO_PIN_SET);
	  }
    osDelay(1000);
  }
  /* USER CODE END StartLED */
}

/* USER CODE BEGIN Header_StartMtHrtBt */
/**
* @brief Function implementing the myMtHrtBt thread.
* @param argument: Not used
* @retval None
*/
extern uint32_t host_heartbeat;
uint8_t host_state = 0;
/* USER CODE END Header_StartMtHrtBt */
void StartMtHrtBt(void *argument)
{
  /* USER CODE BEGIN StartMtHrtBt */
  /* Infinite loop */
  for(;;)
  {
	//底盘电机
	for(int i = 0; i<4; i++)
	{
		if(moto_chassis[i].heartbeat > 0)
		{
			moto_chassis[i].state = 1;
		}
		else
		{
			moto_chassis[i].state = 0;
		}
		moto_chassis[i].heartbeat = 0;
	}
	//刷子电机
	for(int i = 0; i<4; i++)
	{
		if(moto_brush[i].heartbeat > 0)
		{
			moto_brush[i].state = 1;
		}
		else
		{
			moto_brush[i].state = 0;
		}
		moto_brush[i].heartbeat = 0;
	}
	if(host_heartbeat > 0)
	{
		host_state = 1;
	}
	else
	{
		host_state = 0;
	}
	host_heartbeat = 0;
    osDelay(500);
  }
  /* USER CODE END StartMtHrtBt */
}

/* USER CODE BEGIN Header_StartFanCtrl */
/**
* @brief Function implementing the myFanCtrl thread.
* @param argument: Not used
* @retval None
*/
uint32_t fan_spd = 0;
/* USER CODE END Header_StartFanCtrl */
void StartFanCtrl(void *argument)
{
  /* USER CODE BEGIN StartFanCtrl */
  /* Infinite loop */
  for(;;)
  {
	__HAL_TIM_SetCompare(&htim4, TIM_CHANNEL_1, fan_spd);
	__HAL_TIM_SetCompare(&htim4, TIM_CHANNEL_2, fan_spd);
    osDelay(10);
  }
  /* USER CODE END StartFanCtrl */
}

 /**
  * @brief  Period elapsed callback in non blocking mode
  * @note   This function is called  when TIM6 interrupt took place, inside
  * HAL_TIM_IRQHandler(). It makes a direct call to HAL_IncTick() to increment
  * a global variable "uwTick" used as application time base.
  * @param  htim : TIM handle
  * @retval None
  */
void HAL_TIM_PeriodElapsedCallback(TIM_HandleTypeDef *htim)
{
  if (htim->Instance == TIM6) {
    HAL_IncTick();
  }
}

void Error_Handler(void)
{
  __disable_irq();
  while (1)
  {
  }
}

/************************ (C) COPYRIGHT STMicroelectronics *****END OF FILE****/
